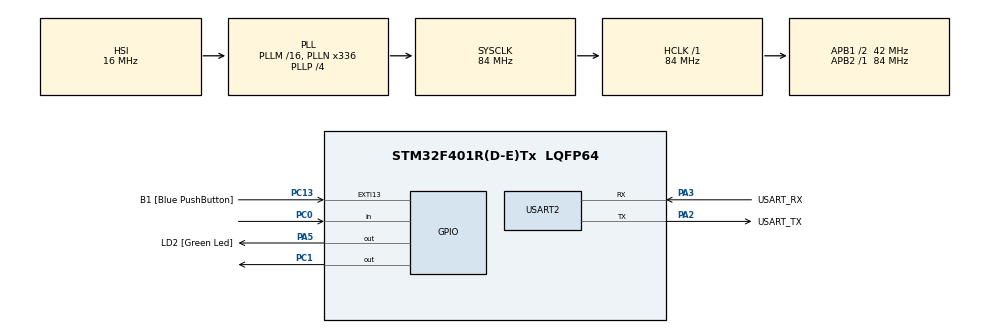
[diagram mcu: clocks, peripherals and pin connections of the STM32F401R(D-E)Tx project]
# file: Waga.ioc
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Mcu.Family=STM32F4
Mcu.Name=STM32F401R(D-E)Tx
Mcu.Package=LQFP64
NVIC.PriorityGroup=NVIC_PRIORITYGROUP_0
PA13.GPIO_Label=TMS
PA13.Mode=Serial_Wire
PA13.Signal=SYS_JTMS-SWDIO
PA14.GPIO_Label=TCK
PA14.Mode=Serial_Wire
PA14.Signal=SYS_JTCK-SWCLK
PA2.GPIO_Label=USART_TX
PA2.GPIO_Mode=GPIO_MODE_AF_PP
PA2.GPIO_PuPd=GPIO_NOPULL
PA2.GPIO_Speed=GPIO_SPEED_FREQ_LOW
PA2.Mode=Asynchronous
PA2.Signal=USART2_TX
PA3.GPIO_Label=USART_RX
PA3.GPIO_Mode=GPIO_MODE_AF_PP
PA3.GPIO_PuPd=GPIO_NOPULL
PA3.GPIO_Speed=GPIO_SPEED_FREQ_LOW
PA3.Mode=Asynchronous
PA3.Signal=USART2_RX
PA5.GPIO_Label=LD2 [Green Led]
PA5.GPIO_Mode=GPIO_MODE_OUTPUT_PP
PA5.GPIO_PuPd=GPIO_NOPULL
PA5.GPIO_Speed=GPIO_SPEED_FREQ_LOW
PA5.Signal=GPIO_Output
PB3.GPIO_Label=SWO
PB3.Signal=SYS_JTDO-SWO
PC0.Signal=GPIO_Input
PC1.Signal=GPIO_Output
PC13-ANTI_TAMP.GPIO_Label=B1 [Blue PushButton]
PC13-ANTI_TAMP.GPIO_ModeDefaultEXTI=GPIO_MODE_IT_FALLING
PC13-ANTI_TAMP.GPIO_PuPd=GPIO_NOPULL
PC13-ANTI_TAMP.Signal=GPXTI13
PC14-OSC32_IN.Mode=LSE-External-Oscillator
PC14-OSC32_IN.Signal=RCC_OSC32_IN
PC15-OSC32_OUT.Mode=LSE-External-Oscillator
PC15-OSC32_OUT.Signal=RCC_OSC32_OUT
PH0\ -\ OSC_IN.Mode=HSE-External-Clock-Source
PH0\ -\ OSC_IN.Signal=RCC_OSC_IN
PH1\ -\ OSC_OUT.Mode=HSE-External-Clock-Source
PH1\ -\ OSC_OUT.Signal=RCC_OSC_OUT
ProjectManager.HeapSize=0x200
ProjectManager.StackSize=0x400
ProjectManager.TargetToolchain=STM32CubeIDE
RCC.48MHZClocksFreq_Value=48000000
RCC.AHBFreq_Value=84000000
RCC.APB1CLKDivider=RCC_HCLK_DIV2
RCC.APB1Freq_Value=42000000
RCC.APB1TimFreq_Value=84000000
RCC.APB2Freq_Value=84000000
RCC.APB2TimFreq_Value=84000000
RCC.CortexFreq_Value=84000000
RCC.HCLKFreq_Value=84000000
RCC.HSE_VALUE=8000000
RCC.HSI_VALUE=16000000
RCC.PLLN=336
RCC.PLLP=RCC_PLLP_DIV4
RCC.PLLQ=7
RCC.SYSCLKFreq_VALUE=84000000
RCC.SYSCLKSource=RCC_SYSCLKSOURCE_PLLCLK
RCC.VCOOutputFreq_Value=336000000
USART2.VirtualMode=VM_ASYNC
board=NUCLEO-F401RE

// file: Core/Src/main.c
/* USER CODE BEGIN Header */
/**
  ******************************************************************************
  * @file           : main.c
  * @brief          : Main program body
  ******************************************************************************
  * @attention
  *
  * Copyright (c) 2023 STMicroelectronics.
  * All rights reserved.
  *
  * This software is licensed under terms that can be found in the LICENSE file
  * in the root directory of this software component.
  * If no LICENSE file comes with this software, it is provided AS-IS.
  *
  ******************************************************************************
  */
/* USER CODE END Header */
#include "main.h"

/* USER CODE BEGIN Includes */
#include <string.h>
#include <stdio.h>
#include "hx711.h"
/* USER CODE END Includes */

UART_HandleTypeDef huart2;

void SystemClock_Config(void);
static void MX_GPIO_Init(void);
static void MX_USART2_UART_Init(void);

/* USER CODE BEGIN 0 */

  hx711_t loadcell;

  void init_weight(hx711_t *hx711){
  	char buffer[128] = {0};

  	sprintf(buffer,"HX711 initialization\n\r");
  	HAL_UART_Transmit(&huart2, (uint8_t *)(buffer), sizeof(buffer), 100);

  	/* Initialize the hx711 sensors */
  	hx711_init(hx711, GPIOC, GPIO_PIN_0, GPIOC, GPIO_PIN_1);

  	/* Configure gain for each channel (see datasheet for details) */
  	set_gain(hx711, 64);

  	/* Set HX711 scaling factor (see README for procedure) */
  	set_scale(hx711, -76);

  	/* Tare weight */
  	tare_all(hx711, 10);

  	sprintf(buffer,"HX711 module has been initialized\n\r");
  	HAL_UART_Transmit(&huart2, (uint8_t *)(buffer), sizeof(buffer), HAL_MAX_DELAY);
  }

  /**
   * @brief  Weight Measuring Function
   * @retval the weight measured for each associated channel
   */

  float measure_weight(hx711_t hx711){
  	long weightA = 0;

  	char buffer[128] = {0};
  	// Measure the weight for channel A
  	weightA = get_weight(&hx711, 10, CHANNEL_A);
  	sprintf(buffer,"%ld\r\n", weightA);
  	  	HAL_UART_Transmit(&huart2, (uint8_t *)(buffer), sizeof(buffer), HAL_MAX_DELAY);
  	return weightA;
  }
/* USER CODE END 0 */

int main(void)
{

  /* MCU Configuration--------------------------------------------------------*/

  /* Reset of all peripherals, Initializes the Flash interface and the Systick. */
  HAL_Init();

  /* Configure the system clock */
  SystemClock_Config();

  /* Initialize all configured peripherals */
  MX_GPIO_Init();
  MX_USART2_UART_Init();

  /* Infinite loop */
  /* USER CODE BEGIN WHILE */
	  init_weight(&loadcell);
  while (1)
  {

	  measure_weight(loadcell);
    /* USER CODE END WHILE */

  }
}

void SystemClock_Config(void)
{
  RCC_OscInitTypeDef RCC_OscInitStruct = {0};
  RCC_ClkInitTypeDef RCC_ClkInitStruct = {0};

  /** Configure the main internal regulator output voltage
  */
  __HAL_RCC_PWR_CLK_ENABLE();
  __HAL_PWR_VOLTAGESCALING_CONFIG(PWR_REGULATOR_VOLTAGE_SCALE2);

  /** Initializes the RCC Oscillators according to the specified parameters
  * in the RCC_OscInitTypeDef structure.
  */
  RCC_OscInitStruct.OscillatorType = RCC_OSCILLATORTYPE_HSI;
  RCC_OscInitStruct.HSIState = RCC_HSI_ON;
  RCC_OscInitStruct.HSICalibrationValue = RCC_HSICALIBRATION_DEFAULT;
  RCC_OscInitStruct.PLL.PLLState = RCC_PLL_ON;
  RCC_OscInitStruct.PLL.PLLSource = RCC_PLLSOURCE_HSI;
  RCC_OscInitStruct.PLL.PLLM = 16;
  RCC_OscInitStruct.PLL.PLLN = 336;
  RCC_OscInitStruct.PLL.PLLP = RCC_PLLP_DIV4;
  RCC_OscInitStruct.PLL.PLLQ = 7;
  if (HAL_RCC_OscConfig(&RCC_OscInitStruct) != HAL_OK)
  {
    Error_Handler();
  }

  /** Initializes the CPU, AHB and APB buses clocks
  */
  RCC_ClkInitStruct.ClockType = RCC_CLOCKTYPE_HCLK|RCC_CLOCKTYPE_SYSCLK
                              |RCC_CLOCKTYPE_PCLK1|RCC_CLOCKTYPE_PCLK2;
  RCC_ClkInitStruct.SYSCLKSource = RCC_SYSCLKSOURCE_PLLCLK;
  RCC_ClkInitStruct.AHBCLKDivider = RCC_SYSCLK_DIV1;
  RCC_ClkInitStruct.APB1CLKDivider = RCC_HCLK_DIV2;
  RCC_ClkInitStruct.APB2CLKDivider = RCC_HCLK_DIV1;

  if (HAL_RCC_ClockConfig(&RCC_ClkInitStruct, FLASH_LATENCY_2) != HAL_OK)
  {
    Error_Handler();
  }
}

static void MX_USART2_UART_Init(void)
{

  huart2.Instance = USART2;
  huart2.Init.BaudRate = 115200;
  huart2.Init.WordLength = UART_WORDLENGTH_8B;
  huart2.Init.StopBits = UART_STOPBITS_1;
  huart2.Init.Parity = UART_PARITY_NONE;
  huart2.Init.Mode = UART_MODE_TX_RX;
  huart2.Init.HwFlowCtl = UART_HWCONTROL_NONE;
  huart2.Init.OverSampling = UART_OVERSAMPLING_16;
  if (HAL_UART_Init(&huart2) != HAL_OK)
  {
    Error_Handler();
  }

}

static void MX_GPIO_Init(void)
{
  GPIO_InitTypeDef GPIO_InitStruct = {0};

  /* GPIO Ports Clock Enable */
  __HAL_RCC_GPIOC_CLK_ENABLE();
  __HAL_RCC_GPIOH_CLK_ENABLE();
  __HAL_RCC_GPIOA_CLK_ENABLE();
  __HAL_RCC_GPIOB_CLK_ENABLE();

  /*Configure GPIO pin Output Level */
  HAL_GPIO_WritePin(GPIOC, GPIO_PIN_1, GPIO_PIN_RESET);

  /*Configure GPIO pin Output Level */
  HAL_GPIO_WritePin(LD2_GPIO_Port, LD2_Pin, GPIO_PIN_RESET);

  /*Configure GPIO pin : B1_Pin */
  GPIO_InitStruct.Pin = B1_Pin;
  GPIO_InitStruct.Mode = GPIO_MODE_IT_FALLING;
  GPIO_InitStruct.Pull = GPIO_NOPULL;
  HAL_GPIO_Init(B1_GPIO_Port, &GPIO_InitStruct);

  /*Configure GPIO pin : PC0 */
  GPIO_InitStruct.Pin = GPIO_PIN_0;
  GPIO_InitStruct.Mode = GPIO_MODE_OUTPUT_PP;
  GPIO_InitStruct.Pull = GPIO_NOPULL;
  HAL_GPIO_Init(GPIOC, &GPIO_InitStruct);

  /*Configure GPIO pin : PC1 */
  GPIO_InitStruct.Pin = GPIO_PIN_1;
  GPIO_InitStruct.Mode = GPIO_MODE_INPUT;
  GPIO_InitStruct.Pull = GPIO_NOPULL;
  GPIO_InitStruct.Speed = GPIO_SPEED_FREQ_LOW;
  HAL_GPIO_Init(GPIOC, &GPIO_InitStruct);

  /*Configure GPIO pin : LD2_Pin */
  GPIO_InitStruct.Pin = LD2_Pin;
  GPIO_InitStruct.Mode = GPIO_MODE_OUTPUT_PP;
  GPIO_InitStruct.Pull = GPIO_NOPULL;
  GPIO_InitStruct.Speed = GPIO_SPEED_FREQ_LOW;
  HAL_GPIO_Init(LD2_GPIO_Port, &GPIO_InitStruct);

}

void Error_Handler(void)
{
  __disable_irq();
  while (1)
  {
  }
}
